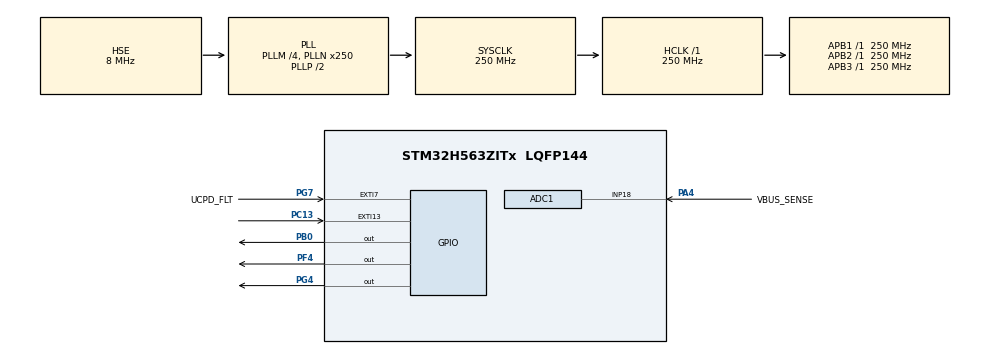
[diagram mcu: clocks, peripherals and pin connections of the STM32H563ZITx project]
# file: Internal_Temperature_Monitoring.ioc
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ADC1.Channel-0\#ChannelRegularConversion=ADC_CHANNEL_TEMPSENSOR
ADC1.ContinuousConvMode=ENABLE
ADC1.MonitoredBy-0\#ChannelRegularConversion=__NULL
ADC1.NbrOfConversionFlag=1
ADC1.OffsetNumber-0\#ChannelRegularConversion=ADC_OFFSET_NONE
ADC1.Rank-0\#ChannelRegularConversion=1
ADC1.SamplingTime-0\#ChannelRegularConversion=ADC_SAMPLETIME_640CYCLES_5
ADC1.master=1
BOOTPATH.BootPathName=LEGACY
BOOTPATH.UserSelectedBootPath=LEGACY
CORTEX_M33_NS.userName=CORTEX_M33
Mcu.Family=STM32H5
Mcu.Name=STM32H563ZITx
Mcu.Package=LQFP144
NUCLEO-H563ZI.BUTTON=1
NUCLEO-H563ZI.LD1=true
NUCLEO-H563ZI.LD2=true
NUCLEO-H563ZI.LD3=true
NUCLEO-H563ZI.VCP=true
NVIC.EXTI13_IRQn=true\:0\:0\:false\:false\:true\:false\:true\:true
NVIC.PriorityGroup=NVIC_PRIORITYGROUP_4
PA1.GPIO_Label=RMII_REF_CLK
PA1.GPIO_Mode=GPIO_MODE_AF_PP
PA1.GPIO_PuPd=GPIO_NOPULL
PA1.GPIO_Speed=GPIO_SPEED_FREQ_LOW
PA1.Signal=ETH_REF_CLK
PA11.GPIO_Label=USB_FS_N
PA11.Signal=USB_DM
PA12.GPIO_Label=USB_FS_P
PA12.Signal=USB_DP
PA13(JTMS/SWDIO).GPIO_Label=SWDIO
PA13(JTMS/SWDIO).Signal=DEBUG_JTMS-SWDIO
PA14(JTCK/SWCLK).GPIO_Label=SWCLK
PA14(JTCK/SWCLK).Signal=DEBUG_JTCK-SWCLK
PA15(JTDI).GPIO_Label=T_JTDI
PA15(JTDI).Signal=DEBUG_JTDI
PA2.GPIO_Label=RMII_MDIO
PA2.GPIO_Mode=GPIO_MODE_AF_PP
PA2.GPIO_PuPd=GPIO_NOPULL
PA2.GPIO_Speed=GPIO_SPEED_FREQ_LOW
PA2.Signal=ETH_MDIO
PA4.GPIO_Label=VBUS_SENSE
PA4.Signal=ADCx_INP18
PA7.GPIO_Label=RMII_CRS_DV
PA7.GPIO_Mode=GPIO_MODE_AF_PP
PA7.GPIO_PuPd=GPIO_NOPULL
PA7.GPIO_Speed=GPIO_SPEED_FREQ_LOW
PA7.Signal=ETH_CRS_DV
PA9.GPIO_Label=UCDP_DBn
PA9.Signal=UCPD1_DB1
PB0.Signal=GPIO_Output
PB13.GPIO_Label=UCPD_CC1
PB13.Signal=UCPD1_CC1
PB14.GPIO_Label=UCPD_CC2
PB14.Signal=UCPD1_CC2
PB15.GPIO_Label=RMII_TXD1
PB15.GPIO_Mode=GPIO_MODE_AF_PP
PB15.GPIO_PuPd=GPIO_NOPULL
PB15.GPIO_Speed=GPIO_SPEED_FREQ_LOW
PB15.Signal=ETH_TXD1
PB3(JTDO/TRACESWO).GPIO_Label=SWO
PB3(JTDO/TRACESWO).Signal=DEBUG_JTDO-SWO
PB6.GPIO_Label=ARD_D1_TX
PB6.Signal=LPUART1_TX
PB7.GPIO_Label=ARD_D0_RX
PB7.Signal=LPUART1_RX
PC1.GPIO_Label=RMII_MDC
PC1.GPIO_Mode=GPIO_MODE_AF_PP
PC1.GPIO_PuPd=GPIO_NOPULL
PC1.GPIO_Speed=GPIO_SPEED_FREQ_LOW
PC1.Signal=ETH_MDC
PC13.Signal=GPXTI13
PC14-OSC32_IN(OSC32_IN).Mode=LSE-External-Oscillator
PC14-OSC32_IN(OSC32_IN).Signal=RCC_OSC32_IN
PC15-OSC32_OUT(OSC32_OUT).Mode=LSE-External-Oscillator
PC15-OSC32_OUT(OSC32_OUT).Signal=RCC_OSC32_OUT
PC4.GPIO_Label=RMII_RXD0
PC4.GPIO_Mode=GPIO_MODE_AF_PP
PC4.GPIO_PuPd=GPIO_NOPULL
PC4.GPIO_Speed=GPIO_SPEED_FREQ_LOW
PC4.Signal=ETH_RXD0
PC5.GPIO_Label=RMII_RXD1
PC5.GPIO_Mode=GPIO_MODE_AF_PP
PC5.GPIO_PuPd=GPIO_NOPULL
PC5.GPIO_Speed=GPIO_SPEED_FREQ_LOW
PC5.Signal=ETH_RXD1
PD8.Signal=USART3_TX
PD9.Signal=USART3_RX
PE2.GPIO_Label=TRACE_CK
PE2.Signal=DEBUG_TRACECLK
PE3.GPIO_Label=TRACE_D0
PE3.Signal=DEBUG_TRACED0
PE4.GPIO_Label=TRACE_D1
PE4.Signal=DEBUG_TRACED1
PE5.GPIO_Label=TRACE_D2
PE5.Signal=DEBUG_TRACED2
PE6.GPIO_Label=TRACE_D3
PE6.Signal=DEBUG_TRACED3
PF4.Signal=GPIO_Output
PG11.GPIO_Label=RMII_TXT_EN
PG11.GPIO_Mode=GPIO_MODE_AF_PP
PG11.GPIO_PuPd=GPIO_NOPULL
PG11.GPIO_Speed=GPIO_SPEED_FREQ_LOW
PG11.Signal=ETH_TX_EN
PG13.GPIO_Label=RMI_TXD0
PG13.GPIO_Mode=GPIO_MODE_AF_PP
PG13.GPIO_PuPd=GPIO_NOPULL
PG13.GPIO_Speed=GPIO_SPEED_FREQ_LOW
PG13.Signal=ETH_TXD0
PG4.Signal=GPIO_Output
PG7.GPIO_Label=UCPD_FLT
PG7.Signal=GPXTI7
PH0-OSC_IN(PH0).GPIO_Label=STLK_MCO
PH0-OSC_IN(PH0).Mode=HSE-External-Clock-Source
PH0-OSC_IN(PH0).Signal=RCC_OSC_IN
ProjectManager.HeapSize=0x200
ProjectManager.StackSize=0x400
ProjectManager.TargetToolchain=STM32CubeIDE
RCC.ADCFreq_Value=250000000
RCC.AHBFreq_Value=250000000
RCC.APB1Freq_Value=250000000
RCC.APB1TimFreq_Value=250000000
RCC.APB2Freq_Value=250000000
RCC.APB2TimFreq_Value=250000000
RCC.APB3Freq_Value=250000000
RCC.CSI_VALUE=4000000
RCC.CortexFreq_Value=250000000
RCC.EPOD_VALUE=8000000
RCC.HCLKFreq_Value=250000000
RCC.HSE_VALUE=8000000
RCC.HSI48_VALUE=48000000
RCC.HSIDiv=RCC_HSI_DIV1
RCC.HSI_VALUE=64000000
RCC.LSIRC_VALUE=32000
RCC.PLLM=4
RCC.PLLN=250
RCC.PLLSourceVirtual=RCC_PLL1_SOURCE_HSE
RCC.SYSCLKFreq_VALUE=250000000
RCC.SYSCLKSource=RCC_SYSCLKSOURCE_PLLCLK
RCC.USBFreq_Value=48000000
RCC.VCOOutputFreq_Value=500000000
SH.ADCx_INP18.0=ADC1_INP18,IN18-Single-Ended
VP_ADC1_TempSens_Input.Mode=IN-TempSens
VP_BOOTPATH_VS_BOOTPATH.Mode=BP_Activate
VP_CORTEX_M33_NS_VS_Hclk.Mode=Hclk_Mode
VP_MEMORYMAP_VS_MEMORYMAP.Mode=CurAppReg
VP_NUCLEO-H563ZI_VS_BSP_COMMON.Mode=COMMON
VP_PWR_VS_DBSignals.Mode=DisableDeadBatterySignals
VP_PWR_VS_LPOM.Mode=PowerOptimisation
VP_PWR_VS_SECSignals.Mode=Security/Privilege
board=NUCLEO-H563ZI

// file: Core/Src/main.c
/* USER CODE BEGIN Header */
/**
  ******************************************************************************
  * @file           : main.c
  * @brief          : Main program body
  ******************************************************************************
  * @attention
  *
  * Copyright (c) 2025 STMicroelectronics.
  * All rights reserved.
  *
  * This software is licensed under terms that can be found in the LICENSE file
  * in the root directory of this software component.
  * If no LICENSE file comes with this software, it is provided AS-IS.
  *
  ******************************************************************************
  */
/* USER CODE END Header */
#include "main.h"

COM_InitTypeDef BspCOMInit;
ADC_HandleTypeDef hadc1;

void SystemClock_Config(void);
static void MX_GPIO_Init(void);
static void MX_ADC1_Init(void);

int main(void)
{

  /* MCU Configuration--------------------------------------------------------*/

  /* Reset of all peripherals, Initializes the Flash interface and the Systick. */
  HAL_Init();

  /* Configure the system clock */
  SystemClock_Config();

  /* Initialize all configured peripherals */
  MX_GPIO_Init();
  MX_ADC1_Init();
  /* USER CODE BEGIN 2 */
  printf("Temperature Sensor is reading...\n");
  HAL_ADC_Start(&hadc1);
  /* USER CODE END 2 */

  /* Initialize leds */
  BSP_LED_Init(LED_GREEN);
  BSP_LED_Init(LED_YELLOW);
  BSP_LED_Init(LED_RED);

  /* Initialize USER push-button, will be used to trigger an interrupt each time it's pressed.*/
  BSP_PB_Init(BUTTON_USER, BUTTON_MODE_EXTI);

  /* Initialize COM1 port (115200, 8 bits (7-bit data + 1 stop bit), no parity */
  BspCOMInit.BaudRate   = 115200;
  BspCOMInit.WordLength = COM_WORDLENGTH_8B;
  BspCOMInit.StopBits   = COM_STOPBITS_1;
  BspCOMInit.Parity     = COM_PARITY_NONE;
  BspCOMInit.HwFlowCtl  = COM_HWCONTROL_NONE;
  if (BSP_COM_Init(COM1, &BspCOMInit) != BSP_ERROR_NONE)
  {
    Error_Handler();
  }

  /* Infinite loop */
  /* USER CODE BEGIN WHILE */
  // Kalibrasyon adresleri (STM32H563 için)
  #define TEMP30_CAL_ADDR ((uint16_t*) ((uint32_t) 0x08FFF814))
  #define TEMP130_CAL_ADDR ((uint16_t*) ((uint32_t) 0x08FFF818))
  #define VREFINT_CAL_ADDR ((uint16_t*) ((uint32_t) 0x08FFF810))
  #define TEMP_OFFSET -22

  while (1)
  {
	  // ADC'den veri oku
	     HAL_ADC_PollForConversion(&hadc1, HAL_MAX_DELAY);
	     uint32_t adc_value = HAL_ADC_GetValue(&hadc1);

	     // Kalibrasyon değerlerini oku
	     uint16_t TS_CAL1 = *TEMP30_CAL_ADDR;   // 30°C’de ADC değeri
	     uint16_t TS_CAL2 = *TEMP130_CAL_ADDR;  // 130°C’de ADC değeri

	     // Sıcaklık hesaplama (reference manual denklemi)
	     // Temperature (°C) = ((ADC_DATA - TS_CAL1) * (TS_CAL2_TEMP - TS_CAL1_TEMP)) / (TS_CAL2 - TS_CAL1) + TS_CAL1_TEMP
	     int32_t temperature = ((int32_t)adc_value - (int32_t)TS_CAL1) * (130 - 30);
	     temperature = temperature / ((int32_t)TS_CAL2 - (int32_t)TS_CAL1);
	     temperature = temperature + 30+TEMP_OFFSET;

	     // Gerilim hesapla (isteğe bağlı)
	     uint32_t Vsense_mV = (adc_value * 3300) / 4095;

	     printf("ADC: %4lu, Vsense: %4lu mV, Temp: %ld C \r\n",
	            adc_value, Vsense_mV, temperature);

	     HAL_Delay(1000);

    /* USER CODE END WHILE */

  }
}

void SystemClock_Config(void)
{
  RCC_OscInitTypeDef RCC_OscInitStruct = {0};
  RCC_ClkInitTypeDef RCC_ClkInitStruct = {0};

  /** Configure the main internal regulator output voltage
  */
  __HAL_PWR_VOLTAGESCALING_CONFIG(PWR_REGULATOR_VOLTAGE_SCALE0);

  while(!__HAL_PWR_GET_FLAG(PWR_FLAG_VOSRDY)) {}

  /** Initializes the RCC Oscillators according to the specified parameters
  * in the RCC_OscInitTypeDef structure.
  */
  RCC_OscInitStruct.OscillatorType = RCC_OSCILLATORTYPE_HSE;
  RCC_OscInitStruct.HSEState = RCC_HSE_BYPASS;
  RCC_OscInitStruct.PLL.PLLState = RCC_PLL_ON;
  RCC_OscInitStruct.PLL.PLLSource = RCC_PLL1_SOURCE_HSE;
  RCC_OscInitStruct.PLL.PLLM = 4;
  RCC_OscInitStruct.PLL.PLLN = 250;
  RCC_OscInitStruct.PLL.PLLP = 2;
  RCC_OscInitStruct.PLL.PLLQ = 2;
  RCC_OscInitStruct.PLL.PLLR = 2;
  RCC_OscInitStruct.PLL.PLLRGE = RCC_PLL1_VCIRANGE_1;
  RCC_OscInitStruct.PLL.PLLVCOSEL = RCC_PLL1_VCORANGE_WIDE;
  RCC_OscInitStruct.PLL.PLLFRACN = 0;
  if (HAL_RCC_OscConfig(&RCC_OscInitStruct) != HAL_OK)
  {
    Error_Handler();
  }

  /** Initializes the CPU, AHB and APB buses clocks
  */
  RCC_ClkInitStruct.ClockType = RCC_CLOCKTYPE_HCLK|RCC_CLOCKTYPE_SYSCLK
                              |RCC_CLOCKTYPE_PCLK1|RCC_CLOCKTYPE_PCLK2
                              |RCC_CLOCKTYPE_PCLK3;
  RCC_ClkInitStruct.SYSCLKSource = RCC_SYSCLKSOURCE_PLLCLK;
  RCC_ClkInitStruct.AHBCLKDivider = RCC_SYSCLK_DIV1;
  RCC_ClkInitStruct.APB1CLKDivider = RCC_HCLK_DIV1;
  RCC_ClkInitStruct.APB2CLKDivider = RCC_HCLK_DIV1;
  RCC_ClkInitStruct.APB3CLKDivider = RCC_HCLK_DIV1;

  if (HAL_RCC_ClockConfig(&RCC_ClkInitStruct, FLASH_LATENCY_5) != HAL_OK)
  {
    Error_Handler();
  }

  /** Configure the programming delay
  */
  __HAL_FLASH_SET_PROGRAM_DELAY(FLASH_PROGRAMMING_DELAY_2);
}

static void MX_ADC1_Init(void)
{

  ADC_ChannelConfTypeDef sConfig = {0};

  /** Common config
  */
  hadc1.Instance = ADC1;
  hadc1.Init.ClockPrescaler = ADC_CLOCK_ASYNC_DIV4;
  hadc1.Init.Resolution = ADC_RESOLUTION_12B;
  hadc1.Init.DataAlign = ADC_DATAALIGN_RIGHT;
  hadc1.Init.ScanConvMode = ADC_SCAN_DISABLE;
  hadc1.Init.EOCSelection = ADC_EOC_SINGLE_CONV;
  hadc1.Init.LowPowerAutoWait = DISABLE;
  hadc1.Init.ContinuousConvMode = ENABLE;
  hadc1.Init.NbrOfConversion = 1;
  hadc1.Init.DiscontinuousConvMode = DISABLE;
  hadc1.Init.ExternalTrigConv = ADC_SOFTWARE_START;
  hadc1.Init.ExternalTrigConvEdge = ADC_EXTERNALTRIGCONVEDGE_NONE;
  hadc1.Init.DMAContinuousRequests = DISABLE;
  hadc1.Init.SamplingMode = ADC_SAMPLING_MODE_NORMAL;
  hadc1.Init.Overrun = ADC_OVR_DATA_PRESERVED;
  hadc1.Init.OversamplingMode = DISABLE;
  if (HAL_ADC_Init(&hadc1) != HAL_OK)
  {
    Error_Handler();
  }

  /** Configure Regular Channel
  */
  sConfig.Channel = ADC_CHANNEL_TEMPSENSOR;
  sConfig.Rank = ADC_REGULAR_RANK_1;
  sConfig.SamplingTime = ADC_SAMPLETIME_640CYCLES_5;
  sConfig.SingleDiff = ADC_SINGLE_ENDED;
  sConfig.OffsetNumber = ADC_OFFSET_1;
  sConfig.Offset =10 ;
  if (HAL_ADC_ConfigChannel(&hadc1, &sConfig) != HAL_OK)
  {
    Error_Handler();
  }

}

static void MX_GPIO_Init(void)
{
  GPIO_InitTypeDef GPIO_InitStruct = {0};

  /* GPIO Ports Clock Enable */
  __HAL_RCC_GPIOE_CLK_ENABLE();
  __HAL_RCC_GPIOC_CLK_ENABLE();
  __HAL_RCC_GPIOH_CLK_ENABLE();
  __HAL_RCC_GPIOA_CLK_ENABLE();
  __HAL_RCC_GPIOB_CLK_ENABLE();
  __HAL_RCC_GPIOG_CLK_ENABLE();

  /*Configure GPIO pins : RMII_MDC_Pin RMII_RXD0_Pin RMII_RXD1_Pin */
  GPIO_InitStruct.Pin = RMII_MDC_Pin|RMII_RXD0_Pin|RMII_RXD1_Pin;
  GPIO_InitStruct.Mode = GPIO_MODE_AF_PP;
  GPIO_InitStruct.Pull = GPIO_NOPULL;
  GPIO_InitStruct.Speed = GPIO_SPEED_FREQ_HIGH;
  GPIO_InitStruct.Alternate = GPIO_AF11_ETH;
  HAL_GPIO_Init(GPIOC, &GPIO_InitStruct);

  /*Configure GPIO pins : RMII_REF_CLK_Pin RMII_MDIO_Pin RMII_CRS_DV_Pin */
  GPIO_InitStruct.Pin = RMII_REF_CLK_Pin|RMII_MDIO_Pin|RMII_CRS_DV_Pin;
  GPIO_InitStruct.Mode = GPIO_MODE_AF_PP;
  GPIO_InitStruct.Pull = GPIO_NOPULL;
  GPIO_InitStruct.Speed = GPIO_SPEED_FREQ_HIGH;
  GPIO_InitStruct.Alternate = GPIO_AF11_ETH;
  HAL_GPIO_Init(GPIOA, &GPIO_InitStruct);

  /*Configure GPIO pins : UCPD_CC1_Pin UCPD_CC2_Pin */
  GPIO_InitStruct.Pin = UCPD_CC1_Pin|UCPD_CC2_Pin;
  GPIO_InitStruct.Mode = GPIO_MODE_ANALOG;
  GPIO_InitStruct.Pull = GPIO_NOPULL;
  HAL_GPIO_Init(GPIOB, &GPIO_InitStruct);

  /*Configure GPIO pin : RMII_TXD1_Pin */
  GPIO_InitStruct.Pin = RMII_TXD1_Pin;
  GPIO_InitStruct.Mode = GPIO_MODE_AF_PP;
  GPIO_InitStruct.Pull = GPIO_NOPULL;
  GPIO_InitStruct.Speed = GPIO_SPEED_FREQ_HIGH;
  GPIO_InitStruct.Alternate = GPIO_AF11_ETH;
  HAL_GPIO_Init(RMII_TXD1_GPIO_Port, &GPIO_InitStruct);

  /*Configure GPIO pin : UCPD_FLT_Pin */
  GPIO_InitStruct.Pin = UCPD_FLT_Pin;
  GPIO_InitStruct.Mode = GPIO_MODE_IT_RISING;
  GPIO_InitStruct.Pull = GPIO_NOPULL;
  HAL_GPIO_Init(UCPD_FLT_GPIO_Port, &GPIO_InitStruct);

  /*Configure GPIO pins : USB_FS_N_Pin USB_FS_P_Pin */
  GPIO_InitStruct.Pin = USB_FS_N_Pin|USB_FS_P_Pin;
  GPIO_InitStruct.Mode = GPIO_MODE_AF_PP;
  GPIO_InitStruct.Pull = GPIO_NOPULL;
  GPIO_InitStruct.Speed = GPIO_SPEED_FREQ_LOW;
  GPIO_InitStruct.Alternate = GPIO_AF10_USB;
  HAL_GPIO_Init(GPIOA, &GPIO_InitStruct);

  /*Configure GPIO pins : RMII_TXT_EN_Pin RMI_TXD0_Pin */
  GPIO_InitStruct.Pin = RMII_TXT_EN_Pin|RMI_TXD0_Pin;
  GPIO_InitStruct.Mode = GPIO_MODE_AF_PP;
  GPIO_InitStruct.Pull = GPIO_NOPULL;
  GPIO_InitStruct.Speed = GPIO_SPEED_FREQ_HIGH;
  GPIO_InitStruct.Alternate = GPIO_AF11_ETH;
  HAL_GPIO_Init(GPIOG, &GPIO_InitStruct);

  /*Configure GPIO pins : ARD_D1_TX_Pin ARD_D0_RX_Pin */
  GPIO_InitStruct.Pin = ARD_D1_TX_Pin|ARD_D0_RX_Pin;
  GPIO_InitStruct.Mode = GPIO_MODE_AF_PP;
  GPIO_InitStruct.Pull = GPIO_NOPULL;
  GPIO_InitStruct.Speed = GPIO_SPEED_FREQ_LOW;
  GPIO_InitStruct.Alternate = GPIO_AF8_LPUART1;
  HAL_GPIO_Init(GPIOB, &GPIO_InitStruct);

}

void Error_Handler(void)
{
  __disable_irq();
  while (1)
  {
  }
}
